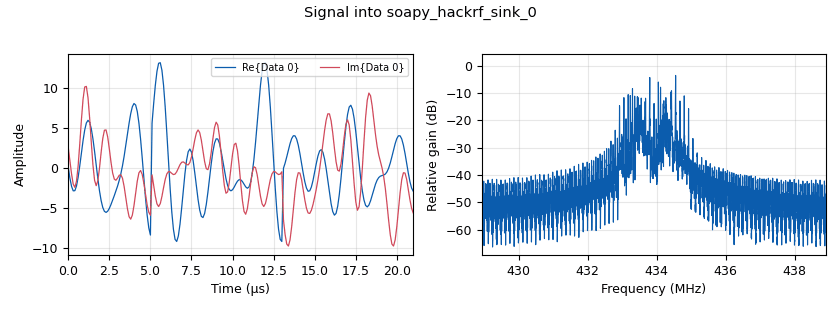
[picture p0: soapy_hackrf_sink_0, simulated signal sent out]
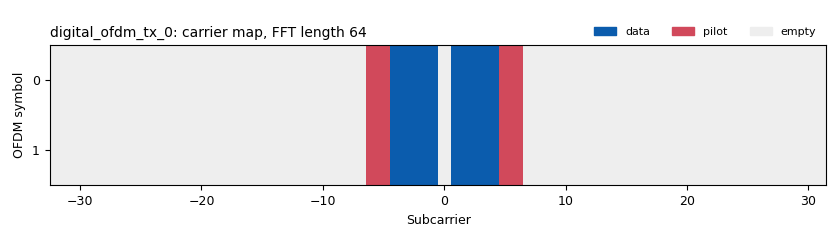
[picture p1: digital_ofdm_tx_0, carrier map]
options:
  parameters:
    generate_options: qt_gui
    id: hackrf_record
    output_language: python
    title: HackRF
  states: {}

blocks:
- name: fft_len
  id: variable
  parameters:
    value: '64'
  states: {}
- name: freq
  id: variable
  parameters:
    value: '433919000'
  states: {}
- name: len_tag_key
  id: variable
  parameters:
    value: '"packet_len"'
  states: {}
- name: packet_len
  id: variable
  parameters:
    value: '50'
  states: {}
- name: samp_rate
  id: variable
  parameters:
    value: '10000000'
  states: {}
- name: blocks_stream_to_tagged_stream_0
  id: blocks_stream_to_tagged_stream
  parameters:
    len_tag_key: len_tag_key
    packet_len: packet_len
    type: byte
  states: {}
- name: blocks_vector_source_x_0
  id: blocks_vector_source_x
  parameters:
    repeat: 'True'
    tags: ()
    type: byte
    vector: range(packet_len)
  states: {}
- name: digital_ofdm_tx_0
  id: digital_ofdm_tx
  parameters:
    cp_len: fft_len//4
    fft_len: fft_len
    header_mod: '"BPSK"'
    occupied_carriers: ((-4,-3,-2,-1,1,2,3,4),)
    packet_len_key: len_tag_key
    payload_mod: '"QPSK"'
    pilot_carriers: ((-6,-5,5,6),)
    pilot_symbols: ((-1,1,-1,1),)
    rolloff: '0'
    sync_word1: None
    sync_word2: None
  states: {}
- name: soapy_hackrf_sink_0
  id: soapy_hackrf_sink
  parameters:
    amp: 'True'
    center_freq: freq
    samp_rate: samp_rate
    type: fc32
  states: {}

connections:
- [blocks_stream_to_tagged_stream_0, '0', digital_ofdm_tx_0, '0']
- [blocks_vector_source_x_0, '0', blocks_stream_to_tagged_stream_0, '0']
- [digital_ofdm_tx_0, '0', soapy_hackrf_sink_0, '0']

metadata:
  file_format: 1
  grc_version: 3.10.6.0
